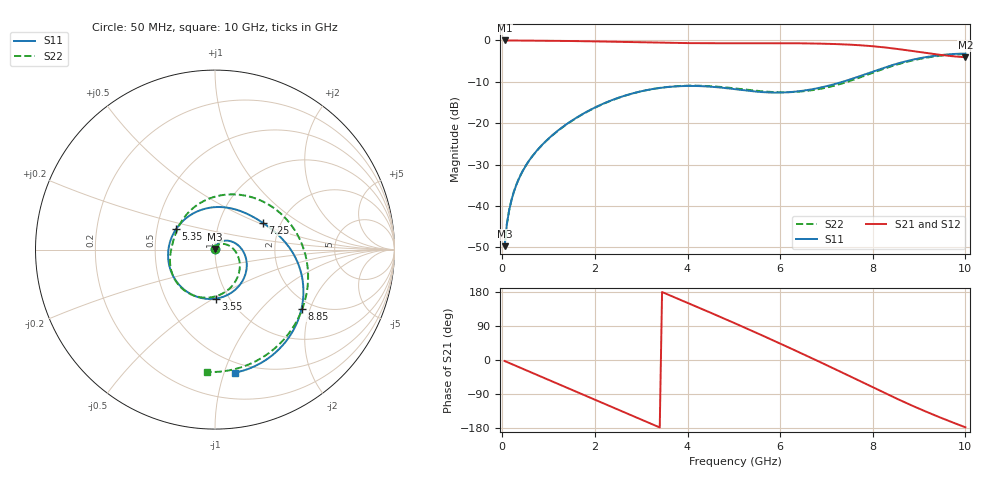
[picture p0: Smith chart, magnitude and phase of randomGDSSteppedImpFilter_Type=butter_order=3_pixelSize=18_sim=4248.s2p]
! freq	dB(S11)	phase(S11)	dB(S12)	phase(S12)
!  dB(S21)	phase(S21)	dB(S22)	phase(S22)
!S-par simulation data
#  GHz  S  DB  R 50
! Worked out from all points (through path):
!   200 points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, 50 MHz to 10 GHz, reference 50 ohm
!   highest |S21| = 0.00 dB at 50 MHz (marker M1); lowest = -4.0 dB at 10 GHz (marker M2)
!   group delay of S21, straight-line fit = 151 ps
!   lowest |S11| = -49.7 dB at 50 MHz (marker M3), VSWR 1.01, Z = 50.1 + j0.323 ohm
!   |S11| at or under -10 dB: start of sweep to 7.346 GHz
!   |S22| runs from -49.7 to -3.3 dB; largest |S21 - S12| = 0
!   S11 on the Smith chart (normalised r, x): 50 MHz: 1.00, +0.01; 3.55 GHz: 0.87, -0.51; 5.35 GHz: 0.63, +0.15; 7.25 GHz: 1.61, +0.53; 8.85 GHz: 1.76, -1.75; 10 GHz: 0.41, -1.09
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0.05  -49.72 81.0  -0.00 -2.6  -0.00 -2.6  -49.69 77.8
0.1  -44.25 80.3  -0.01 -5.3  -0.01 -5.3  -44.26 77.6
0.2  -38.52 78.6  -0.02 -10.6  -0.02 -10.6  -38.46 74.0
0.5  -30.42 68.6  -0.04 -26.3  -0.04 -26.3  -30.39 57.3
1.15  -22.25 40.5  -0.10 -60.3  -0.10 -60.3  -22.31 19.1
1.75  -17.68 10.9  -0.18 -91.9  -0.18 -91.9  -17.74 -13.9
2.2  -15.18 -12.8  -0.27 -115.5  -0.27 -115.5  -15.23 -37.3
2.65  -13.32 -37.5  -0.38 -139.0  -0.38 -139.0  -13.36 -59.7
3.4  -11.48 -80.0  -0.55 -178.0  -0.55 -178.0  -11.47 -95.0
3.55  -11.28 -88.7  -0.58 174.2  -0.58 174.2  -11.26 -101.8
4.25  -11.03 -131.1  -0.67 137.8  -0.67 137.8  -10.94 -131.7
4.65  -11.32 -157.2  -0.67 116.8  -0.67 116.8  -11.18 -147.6
5.05  -11.81 174.8  -0.66 95.4  -0.66 95.4  -11.62 -162.4
5.35  -12.21 152.4  -0.65 79.2  -0.65 79.2  -12.01 -172.9
6.1  -12.56 95.0  -0.66 37.8  -0.66 37.8  -12.52 159.8
6.7  -11.77 56.0  -0.73 3.9  -0.73 3.9  -12.00 129.6
7.25  -10.32 29.5  -0.89 -27.9  -0.89 -27.9  -10.68 91.8
7.8  -8.31 8.0  -1.22 -60.2  -1.22 -60.2  -8.63 48.7
8.35  -6.20 -13.6  -1.81 -92.4  -1.81 -92.4  -6.43 6.6
8.85  -4.68 -34.2  -2.55 -120.4  -2.55 -120.4  -4.86 -27.8
9.45  -3.56 -59.0  -3.47 -151.4  -3.47 -151.4  -3.71 -64.1
10  -3.17 -80.9  -4.05 -177.6  -4.05 -177.6  -3.31 -93.6
